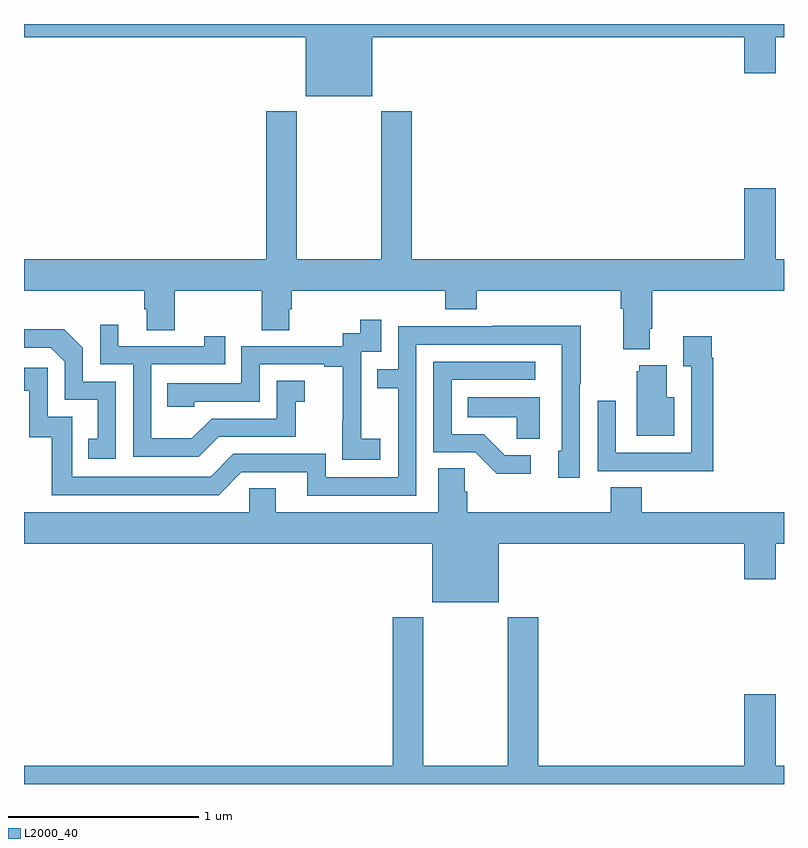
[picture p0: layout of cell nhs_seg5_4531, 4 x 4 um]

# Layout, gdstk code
import gdstk
lib = gdstk.Library(unit=1e-6, precision=1e-09)
def P(c, l, *ps):  # polygons
    for p in ps: c.add(gdstk.Polygon(p, *l))
L2000_40 = (2000, 40)

nhs_seg5_4531 = lib.new_cell('nhs_seg5_4531')
P(nhs_seg5_4531, L2000_40, [(378.832,888.728),(380.792,888.728),(380.792,888.54),(380.956,888.54),(380.956,888.728),(381,888.728),(381,888.799),(377,888.799),(377,888.728),(378.482,888.728),(378.482,888.419),(378.832,888.419)],
  [(380.293,887.194),(380.306,887.194),(380.306,887.396),(381,887.396),(381,887.56),(380.956,887.56),(380.956,887.935),(380.792,887.935),(380.792,887.56),(379.04,887.56),(379.04,888.34),(378.88,888.34),(378.88,887.56),(378.435,887.56),(378.435,888.34),(378.275,888.34),(378.275,887.56),(377,887.56),(377,887.396),(377.633,887.396),(377.633,887.298),(377.645,887.298),(377.645,887.188),(377.793,887.188),(377.793,887.396),(378.25,887.396),(378.25,887.188),(378.397,887.188),(378.397,887.298),(378.41,887.298),(378.41,887.396),(379.217,887.396),(379.217,887.297),(379.382,887.297),(379.382,887.396),(380.141,887.396),(380.141,887.3),(380.153,887.3),(380.153,887.087),(380.293,887.087)],
  [(378.874,886.615),(378.776,886.615),(378.776,886.844),(378.774,886.844),(378.774,887.073),(378.879,887.073),(378.879,887.242),(378.771,887.242),(378.771,887.172),(378.678,887.172),(378.678,887.103),(378.144,887.103),(378.144,886.908),(377.755,886.908),(377.755,886.785),(377.895,886.785),(377.895,886.812),(378.24,886.812),(378.24,887.007),(378.581,887.007),(378.581,886.995),(378.677,886.995),(378.677,886.711),(378.676,886.711),(378.676,886.505),(378.874,886.505)],
  [(378.025,886.626),(378.429,886.626),(378.429,886.811),(378.478,886.811),(378.478,886.921),(378.33,886.921),(378.33,886.722),(377.988,886.722),(377.884,886.618),(377.67,886.618),(377.67,887.007),(378.059,887.007),(378.059,887.155),(377.948,887.155),(377.948,887.103),(377.497,887.103),(377.497,887.215),(377.4,887.215),(377.4,887.007),(377.574,887.007),(377.574,886.521),(377.92,886.521)],
  [(379.065,887.112),(379.83,887.112),(379.83,886.554),(379.811,886.554),(379.811,886.41),(379.926,886.41),(379.926,886.903),(379.929,886.903),(379.929,887.21),(379.465,887.21),(379.465,887.208),(378.969,887.208),(378.969,886.983),(378.859,886.983),(378.859,886.882),(378.969,886.882),(378.969,886.413),(378.588,886.413),(378.588,886.536),(378.102,886.536),(377.982,886.416),(377.253,886.416),(377.253,886.731),(377.124,886.731),(377.124,886.99),(377,886.99),(377,886.869),(377.027,886.869),(377.027,886.623),(377.145,886.623),(377.145,886.32),(378.024,886.32),(378.144,886.44),(378.491,886.44),(378.491,886.317),(379.065,886.317)],
  [(377.484,886.917),(377.31,886.917),(377.31,887.094),(377.212,887.192),(377,887.192),(377,887.094),(377.142,887.094),(377.214,887.022),(377.214,886.821),(377.387,886.821),(377.387,886.617),(377.338,886.617),(377.338,886.512),(377.484,886.512)],
  [(380.627,887.042),(380.62,887.042),(380.62,887.155),(380.471,887.155),(380.471,886.999),(380.511,886.999),(380.511,886.542),(380.115,886.542),(380.115,886.816),(380.019,886.816),(380.019,886.446),(380.335,886.446),(380.335,886.445),(380.627,886.445)],
  [(379.666,886.53),(379.531,886.53),(379.42,886.641),(379.251,886.641),(379.251,886.926),(379.69,886.926),(379.69,887.022),(379.155,887.022),(379.155,886.545),(379.374,886.545),(379.487,886.433),(379.666,886.433)],
  [(380.422,886.834),(380.383,886.834),(380.383,887.002),(380.237,887.002),(380.237,886.971),(380.225,886.971),(380.225,886.631),(380.422,886.631)],
  [(379.714,886.834),(379.336,886.834),(379.336,886.73),(379.593,886.73),(379.593,886.615),(379.714,886.615)],
  [(380.252,886.361),(380.087,886.361),(380.087,886.228),(379.334,886.228),(379.334,886.337),(379.32,886.337),(379.32,886.46),(379.181,886.46),(379.181,886.228),(378.325,886.228),(378.325,886.355),(378.186,886.355),(378.186,886.228),(377,886.228),(377,886.064),(379.148,886.064),(379.148,885.755),(379.498,885.755),(379.498,886.064),(380.792,886.064),(380.792,885.876),(380.956,885.876),(380.956,886.064),(381,886.064),(381,886.228),(380.252,886.228)],
  [(380.792,885.271),(380.792,884.896),(379.706,884.896),(379.706,885.676),(379.546,885.676),(379.546,884.896),(379.101,884.896),(379.101,885.676),(378.941,885.676),(378.941,884.896),(377,884.896),(377,884.799),(381,884.799),(381,884.896),(380.956,884.896),(380.956,885.271)])

lib.write_gds('nhs_seg5_4531.gds')
